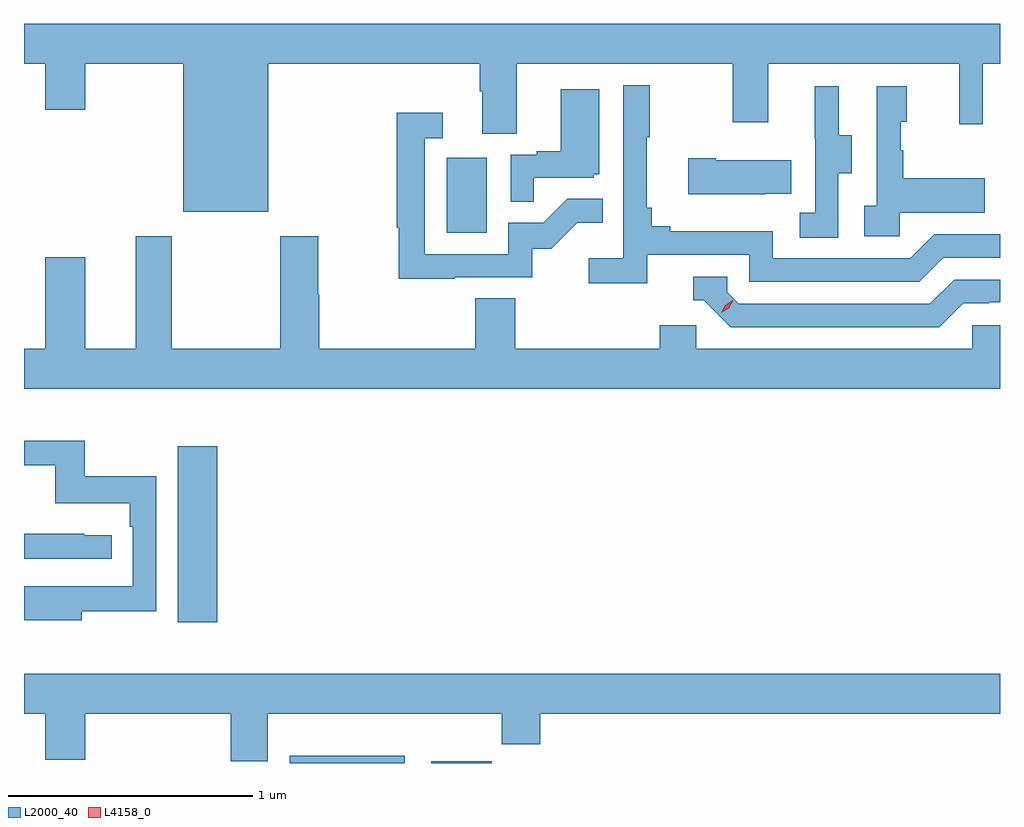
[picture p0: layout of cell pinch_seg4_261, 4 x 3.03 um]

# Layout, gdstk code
import gdstk
lib = gdstk.Library(unit=1e-6, precision=1e-09)
def R(c, l, rs):  # rectangles x0, y0, x1, y1
    for r in rs: c.add(gdstk.rectangle(r[:2], r[2:], *l))
def P(c, l, *ps):  # polygons
    for p in ps: c.add(gdstk.Polygon(p, *l))
L2000_40 = (2000, 40)
L4158_0 = (4158, 0)

pinch_seg4_261 = lib.new_cell('pinch_seg4_261')
R(pinch_seg4_261, L2000_40, [(933.242,827.255,933.712,827.284), (933.821,827.255,934.07,827.263), (932.783,827.832,932.944,828.553), (933.884,829.428,934.048,829.735)])
P(pinch_seg4_261, L2000_40, [(933.154,830.12),(934.019,830.12),(934.019,830.008),(934.031,830.008),(934.031,829.834),(934.171,829.834),(934.171,830.12),(935.056,830.12),(935.056,829.881),(935.203,829.881),(935.203,830.12),(935.984,830.12),(935.984,829.872),(936.081,829.872),(936.081,830.12),(936.152,830.12),(936.152,830.284),(932.152,830.284),(932.152,830.12),(932.24,830.12),(932.24,829.932),(932.404,829.932),(932.404,830.12),(932.804,830.12),(932.804,829.514),(933.154,829.514)],
  [(934.706,829.338),(935.124,829.338),(935.124,829.227),(935.821,829.227),(935.92,829.326),(936.152,829.326),(936.152,829.422),(935.883,829.422),(935.784,829.323),(935.22,829.323),(935.22,829.435),(934.801,829.435),(934.801,829.454),(934.724,829.454),(934.724,829.531),(934.705,829.531),(934.705,829.819),(934.717,829.819),(934.717,830.032),(934.608,830.032),(934.608,829.324),(934.467,829.324),(934.467,829.222),(934.706,829.222)],
  [(935.49,829.672),(935.545,829.672),(935.545,829.827),(935.491,829.827),(935.491,830.029),(935.393,830.029),(935.393,829.815),(935.394,829.815),(935.394,829.511),(935.331,829.511),(935.331,829.408),(935.49,829.408)],
  [(935.742,829.511),(936.089,829.511),(936.089,829.651),(935.755,829.651),(935.755,829.766),(935.745,829.766),(935.745,829.884),(935.77,829.884),(935.77,830.029),(935.646,830.029),(935.646,829.538),(935.595,829.538),(935.595,829.413),(935.742,829.413)],
  [(934.241,829.653),(934.488,829.653),(934.488,829.668),(934.51,829.668),(934.51,830.017),(934.352,830.017),(934.352,829.762),(934.253,829.762),(934.253,829.749),(934.146,829.749),(934.146,829.555),(934.241,829.555)],
  [(933.917,829.245),(934.236,829.245),(934.236,829.362),(934.312,829.362),(934.419,829.469),(934.523,829.469),(934.523,829.568),(934.379,829.568),(934.281,829.47),(934.137,829.47),(934.137,829.341),(933.795,829.341),(933.795,829.815),(933.868,829.815),(933.868,829.921),(933.679,829.921),(933.679,829.448),(933.687,829.448),(933.687,829.24),(933.917,829.24)],
  [(935.189,829.589),(935.297,829.589),(935.297,829.726),(934.987,829.726),(934.987,829.734),(934.875,829.734),(934.875,829.586),(935.189,829.586)],
  [(936.152,829.05),(936.039,829.05),(936.039,828.952),(934.908,828.952),(934.908,829.05),(934.757,829.05),(934.757,828.952),(934.166,828.952),(934.166,829.16),(934.001,829.16),(934.001,828.952),(933.362,828.952),(933.362,829.175),(933.357,829.175),(933.357,829.414),(933.202,829.414),(933.202,828.952),(932.757,828.952),(932.757,829.414),(932.609,829.414),(932.609,828.952),(932.404,828.952),(932.404,829.327),(932.24,829.327),(932.24,828.952),(932.152,828.952),(932.152,828.788),(936.152,828.788)],
  [(936.001,829.14),(936.108,829.14),(936.108,829.143),(936.152,829.143),(936.152,829.236),(935.964,829.236),(935.865,829.137),(935.082,829.137),(935.034,829.185),(935.034,829.248),(934.895,829.248),(934.895,829.152),(934.938,829.152),(935.049,829.041),(935.902,829.041)],
  [(932.389,827.878),(932.694,827.878),(932.694,828.43),(932.401,828.43),(932.401,828.576),(932.152,828.576),(932.152,828.475),(932.28,828.475),(932.28,828.32),(932.585,828.32),(932.585,828.224),(932.598,828.224),(932.598,827.979),(932.285,827.979),(932.285,827.98),(932.152,827.98),(932.152,827.84),(932.389,827.84)],
  [(932.512,828.189),(932.399,828.189),(932.399,828.194),(932.152,828.194),(932.152,828.093),(932.512,828.093)],
  [(933.151,827.456),(934.111,827.456),(934.111,827.332),(934.268,827.332),(934.268,827.456),(936.152,827.456),(936.152,827.62),(932.152,827.62),(932.152,827.456),(932.24,827.456),(932.24,827.268),(932.404,827.268),(932.404,827.456),(932.999,827.456),(932.999,827.262),(933.151,827.262)])
P(pinch_seg4_261, L4158_0, [(935.01,829.1),(935.01,829.1),(935.026,829.132),(935.057,829.151),(935.058,829.151),(935.058,829.151),(935.041,829.119),(935.01,829.1)])

lib.write_gds('pinch_seg4_261.gds')
